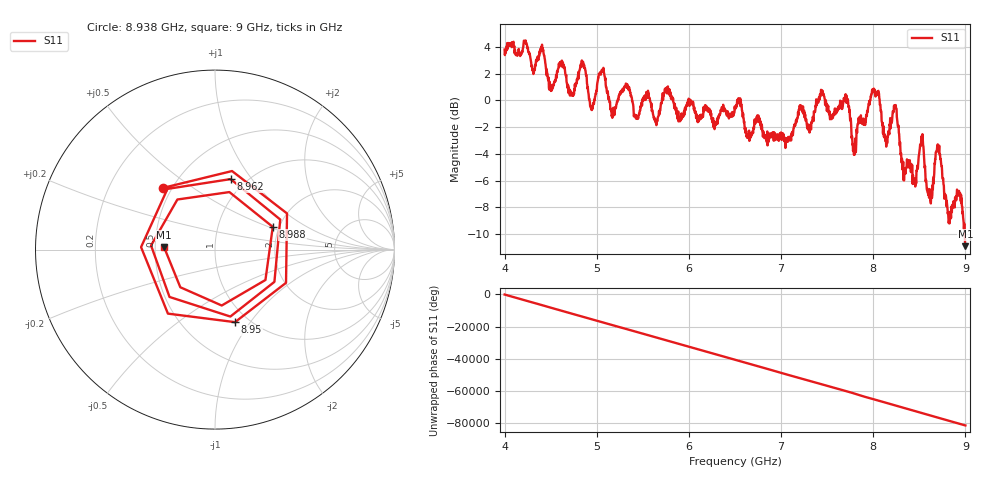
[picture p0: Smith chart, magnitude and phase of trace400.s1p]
! Created with skrf 1.8.0 (http://scikit-rf.org).
# Hz S RI R 50.0
!freq ReS11 ImS11
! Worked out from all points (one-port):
!   1601 points, 4 GHz to 9 GHz, reference 50 ohm
!   lowest |S11| = -10.9 dB at 9 GHz (marker M1), VSWR 1.80, Z = 27.9 + j0.885 ohm
!   |S11| at or under -10 dB: 8.993473 GHz to end of sweep
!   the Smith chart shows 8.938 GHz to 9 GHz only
!   S11 on the Smith chart (normalised r, x): 8.938 GHz: 0.45, +0.39; 8.95 GHz: 0.86, -0.85; 8.962 GHz: 0.85, +0.80; 8.988 GHz: 1.85, +0.53; 9 GHz: 0.56, +0.02
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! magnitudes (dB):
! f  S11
! 4 GHz  3.8
! 4.406 GHz  4.2
! 4.506 GHz  0.8
! 4.625 GHz  2.9
! 4.728 GHz  0.4
! 4.853 GHz  2.9
! 4.947 GHz  -0.7
! 5.05 GHz  2.2
! 5.166 GHz  -1.1
! 5.25 GHz  0.5
! 5.875 GHz  -1.2
! 6.5 GHz  -0.6
! 7.125 GHz  -2.3
! 7.444 GHz  0.7
! 7.75 GHz  -1.5
! 7.791 GHz  -4.1
! 8.038 GHz  0.6
! 8.238 GHz  -0.4
! 8.375 GHz  -4.6
! 8.528 GHz  -2.9
! 8.616 GHz  -7.1
! 8.703 GHz  -3.7
! 8.819 GHz  -9.2
! 8.938 GHz  -6.9
! 8.95 GHz  -7.6
! 8.962 GHz  -7.9
! 8.988 GHz  -9.2
! 9 GHz  -10.9
